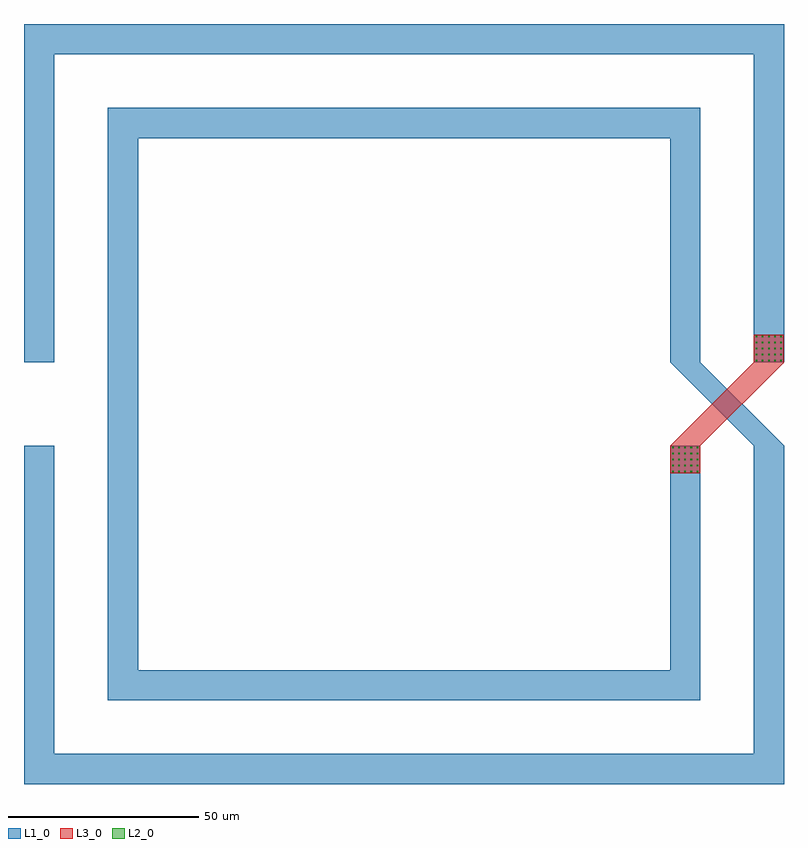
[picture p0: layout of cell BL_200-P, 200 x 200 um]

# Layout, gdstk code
import gdstk
lib = gdstk.Library(unit=1e-6, precision=1e-09)
def R(c, l, rs):  # rectangles x0, y0, x1, y1
    for r in rs: c.add(gdstk.rectangle(r[:2], r[2:], *l))
def A(c, l, x, y, w, h, nx, ny, dx, dy):  # array of equal rectangles
    R(c, l, [(x+i*dx, y+j*dy, x+i*dx+w, y+j*dy+h) for i in range(nx) for j in range(ny)])
def P(c, l, *ps):  # polygons
    for p in ps: c.add(gdstk.Polygon(p, *l))
L1_0 = (1, 0)
L2_0 = (2, 0)
L3_0 = (3, 0)

bl_200_p = lib.new_cell('BL_200-P')
R(bl_200_p, L1_0, [(270.005,192.805,277.995,199.995), (122,200,130,211), (122,211,130,222), (292.005,221.995,299.995,229.185)])
P(bl_200_p, L1_0, [(100,222),(100,311),(108,303),(108,222)],
  [(108,303),(100,311),(300,311),(292,303)],
  [(292,222),(292,303),(300,311),(300,222)],
  [(278,133),(270,141),(270,200),(278,200)],
  [(122,133),(130,141),(270,141),(278,133)],
  [(122,133),(122,200),(130,200),(130,141)],
  [(122,222),(122,289),(130,281),(130,222)],
  [(130,281),(122,289),(278,289),(270,281)],
  [(270,222),(270,281),(278,289),(278,222)],
  [(292,200),(270,222),(278,222),(300,200)],
  [(300,111),(292,119),(292,200),(300,200)],
  [(100,111),(108,119),(292,119),(300,111)],
  [(100,111),(100,200),(108,200),(108,119)])
A(bl_200_p, L2_0, 270.59, 193, 0.4, 0.4, 5, 2, 1.6, 3.19)
A(bl_200_p, L2_0, 270.59, 194.59, 0.4, 0.41, 5, 1, 1.6, 0)
A(bl_200_p, L2_0, 270.59, 197.79, 0.4, 0.4, 5, 2, 1.6, 1.6)
A(bl_200_p, L2_0, 292.59, 222.19, 0.4, 0.4, 5, 5, 1.6, 1.6)
R(bl_200_p, L3_0, [(270.005,192.805,277.995,199.995), (292.005,221.995,299.995,229.185)])
P(bl_200_p, L3_0, [(270,200),(292,222),(300,222),(278,200)])

lib.write_gds('BL_200-P.gds')
